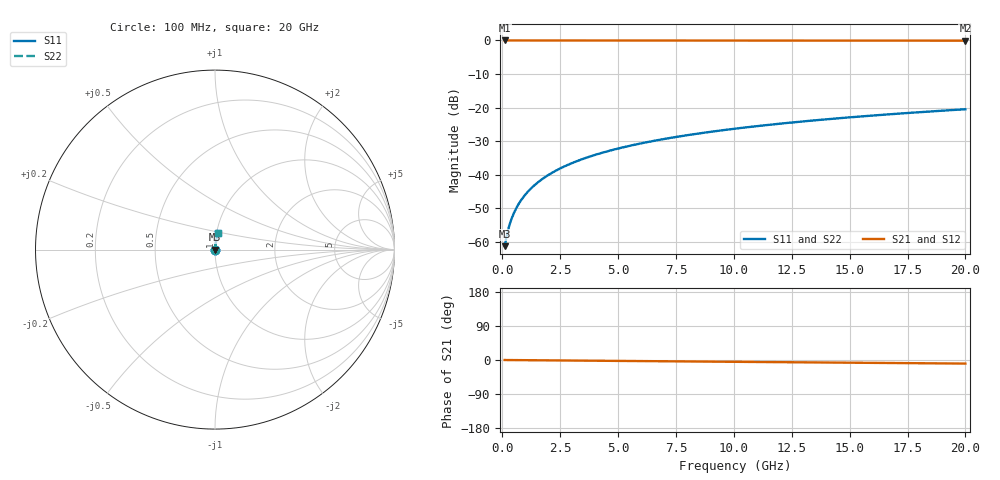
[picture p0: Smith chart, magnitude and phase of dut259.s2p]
! Touchstone file exported from HFSS 2026.1.0
!  File:  C:/ffzhzh/LocalFiles/Ansys_Project_Files/temp_train_BSMRDL_259_1782988739_45328.aedt
!  Generated:  06:40:10 PM Jul  2, 2026
!  Design:  BSMRDL
!  Project:  temp_train_BSMRDL_259_1782988739_45328
! Variables:
!  h_bsmrdl = 3.75um
!  h_ox = 20um
!  h_rdl = 5um
!  h_sub = 80um
!  h_tmrdl = 5um
!  h_tsv = 80um
!  h_via = 3um
!  l_bsmrdl = 105.36um
!  l_sub = 505.36um
!  l_tmrdl = 200um
!  m_sub = 200um
!  pitch = 44.33um
!  r_tsv = 6um
!  s_tmrdl = 10um
!  w_bsmrdl = 21.83um
!  w_sub = 500um
!  w_tmrdl = 12um
!  x_tsv_center1 = 206um
!  x_tsv_center2 = 333.19um
!  x_tsv_center3 = 545.19um
!  x_tsv_center4 = 672.38um
!  x_tsv_center5 = 884.38um
!  x_tsv_center6 = 1011.57um
# GHz S MA R 50.000000
! Terminal data exported
! Port[1] = BSM_RDL1_1_T1
! Port[2] = BSM_RDL1_1_T2
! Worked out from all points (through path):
!   200 points, 100 MHz to 20 GHz, reference 50 ohm
!   highest |S21| = -0.01 dB at 100 MHz (marker M1); lowest = -0.1 dB at 20 GHz (marker M2)
!   group delay of S21, straight-line fit = 1.31 ps
!   lowest |S11| = -61.3 dB at 100 MHz (marker M3), VSWR 1.00, Z = 50.1 + j0.0542 ohm
!   |S11| at or under -10 dB: start of sweep to end of sweep
!   |S22| runs from -61.3 to -20.5 dB; largest |S21 - S12| = 4.2e-15
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0.1  0.0008611 39.0  0.9993 -0.1  0.9993 -0.1  0.0008611 39.0
! Gamma 0 0 0 0
! Port Impedance 50 0 50 0
0.2  0.001276 56.7  0.9993 -0.1  0.9993 -0.1  0.001276 56.7
0.3  0.001737 64.9  0.9993 -0.2  0.9993 -0.2  0.001737 64.9
0.4  0.002206 69.6  0.9992 -0.2  0.9992 -0.2  0.002206 69.6
0.5  0.002678 72.8  0.9992 -0.2  0.9992 -0.2  0.002678 72.8
0.6  0.003152 75.0  0.9992 -0.3  0.9992 -0.3  0.003152 75.0
0.8  0.004108 78.0  0.9992 -0.4  0.9992 -0.4  0.004108 78.0
1.1  0.005557 80.7  0.9991 -0.5  0.9991 -0.5  0.005557 80.7
1.3  0.006529 81.7  0.9991 -0.6  0.9991 -0.6  0.006529 81.7
1.6  0.007992 82.8  0.9991 -0.8  0.9991 -0.8  0.007992 82.8
2.1  0.01044 83.8  0.999 -1.0  0.999 -1.0  0.01044 83.8
2.7  0.01337 84.4  0.9989 -1.3  0.9989 -1.3  0.01337 84.4
3.5  0.01727 84.7  0.9988 -1.7  0.9988 -1.7  0.01727 84.7
4.2  0.02066 84.7  0.9986 -2.0  0.9986 -2.0  0.02066 84.7
5  0.02452 84.6  0.9984 -2.4  0.9984 -2.4  0.02452 84.6
5.9  0.02884 84.3  0.9981 -2.8  0.9981 -2.8  0.02884 84.3
6.8  0.03313 84.0  0.9979 -3.3  0.9979 -3.3  0.03313 84.0
8.3  0.04024 83.5  0.9974 -4.0  0.9974 -4.0  0.04024 83.5
10.1  0.0487 82.8  0.9968 -4.8  0.9968 -4.8  0.0487 82.8
13.4  0.06407 81.5  0.9956 -6.4  0.9956 -6.4  0.06407 81.5
16.7  0.07931 80.1  0.9942 -7.9  0.9942 -7.9  0.07931 80.2
20  0.0944 78.8  0.9926 -9.4  0.9926 -9.4  0.0944 78.8
